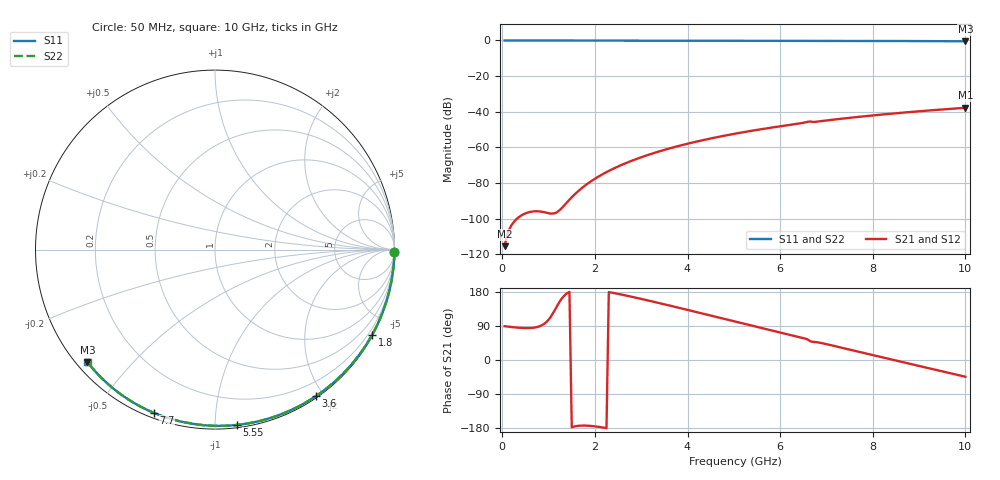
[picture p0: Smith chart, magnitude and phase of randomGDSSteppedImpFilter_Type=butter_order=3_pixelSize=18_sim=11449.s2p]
! freq	dB(S11)	phase(S11)	dB(S12)	phase(S12)
!  dB(S21)	phase(S21)	dB(S22)	phase(S22)
!S-par simulation data
#  GHz  S  DB  R 50
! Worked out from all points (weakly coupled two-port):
!   200 points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, 50 MHz to 10 GHz, reference 50 ohm
!   highest |S21| = -37.79 dB at 10 GHz (marker M1); lowest = -115.5 dB at 50 MHz (marker M2)
!   lowest |S11| = -0.5 dB at 10 GHz (marker M3), VSWR 36.98, Z = 1.54 - j18.9 ohm
!   |S11| at or under -10 dB: nowhere
!   |S22| runs from -0.5 to 0.0 dB; largest |S21 - S12| = 0
!   S11 on the Smith chart (normalised r, x): 50 MHz: open; 1.8 GHz: 0.03, -3.95; 3.6 GHz: 0.02, -1.90; 5.55 GHz: 0.02, -1.13; 7.7 GHz: 0.02, -0.69; 10 GHz: 0.03, -0.38
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0.05  -0.00 -0.8  -115.45 89.2  -115.45 89.2  -0.00 -0.8
0.9  -0.02 -14.4  -96.36 95.0  -96.36 95.0  -0.02 -14.3
1.75  -0.04 -27.7  -82.17 -173.0  -82.17 -173.0  -0.04 -27.7
1.8  -0.04 -28.4  -81.17 -173.1  -81.17 -173.1  -0.04 -28.4
1.85  -0.04 -29.2  -80.22 -173.4  -80.22 -173.4  -0.04 -29.2
2.2  -0.04 -34.6  -74.59 -178.7  -74.59 -178.7  -0.04 -34.6
2.55  -0.05 -39.9  -70.15 173.2  -70.15 173.2  -0.05 -39.9
2.95  -0.06 -46.0  -66.02 162.6  -66.02 162.6  -0.06 -45.9
3.4  -0.07 -52.6  -62.17 149.9  -62.17 149.9  -0.07 -52.6
3.6  -0.07 -55.6  -60.67 144.1  -60.67 144.1  -0.07 -55.5
4.3  -0.09 -65.6  -56.13 123.3  -56.13 123.3  -0.09 -65.6
5.05  -0.12 -76.1  -52.21 100.8  -52.21 100.8  -0.12 -76.0
5.55  -0.14 -82.9  -49.98 85.8  -49.98 85.8  -0.14 -82.8
6.45  -0.18 -94.8  -46.44 59.2  -46.44 59.2  -0.18 -94.7
6.6  -0.18 -96.7  -45.61 53.8  -45.61 53.8  -0.18 -96.7
6.65  -0.19 -97.4  -45.47 49.5  -45.47 49.5  -0.19 -97.3
6.7  -0.20 -98.0  -45.71 48.0  -45.71 48.0  -0.20 -98.0
6.8  -0.20 -99.2  -45.57 46.8  -45.57 46.8  -0.20 -99.2
7.7  -0.25 -110.6  -42.86 21.7  -42.86 21.7  -0.25 -110.5
8.35  -0.30 -118.6  -41.22 2.9  -41.22 2.9  -0.30 -118.6
9.2  -0.38 -129.0  -39.33 -21.4  -39.33 -21.4  -0.38 -128.9
10  -0.47 -138.6  -37.79 -44.2  -37.79 -44.2  -0.47 -138.5
